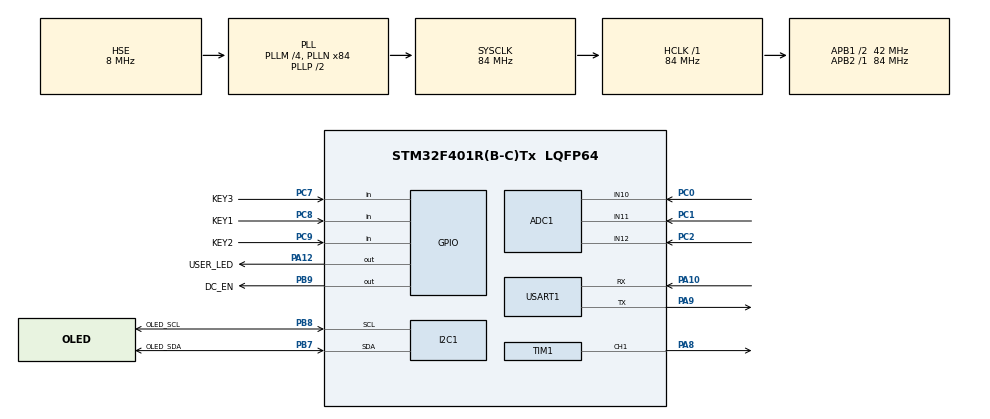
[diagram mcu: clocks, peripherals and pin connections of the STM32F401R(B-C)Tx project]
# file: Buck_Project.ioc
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ADC1.Channel-0\#ChannelRegularConversion=ADC_CHANNEL_10
ADC1.Channel-1\#ChannelRegularConversion=ADC_CHANNEL_11
ADC1.Channel-2\#ChannelRegularConversion=ADC_CHANNEL_12
ADC1.ContinuousConvMode=ENABLE
ADC1.DMAContinuousRequests=ENABLE
ADC1.NbrOfConversion=3
ADC1.NbrOfConversionFlag=1
ADC1.Rank-0\#ChannelRegularConversion=1
ADC1.Rank-1\#ChannelRegularConversion=2
ADC1.Rank-2\#ChannelRegularConversion=3
ADC1.SamplingTime-0\#ChannelRegularConversion=ADC_SAMPLETIME_15CYCLES
ADC1.SamplingTime-1\#ChannelRegularConversion=ADC_SAMPLETIME_15CYCLES
ADC1.SamplingTime-2\#ChannelRegularConversion=ADC_SAMPLETIME_15CYCLES
ADC1.master=1
Dma.ADC1.0.Direction=DMA_PERIPH_TO_MEMORY
Dma.ADC1.0.FIFOMode=DMA_FIFOMODE_DISABLE
Dma.ADC1.0.Instance=DMA2_Stream0
Dma.ADC1.0.MemDataAlignment=DMA_MDATAALIGN_HALFWORD
Dma.ADC1.0.MemInc=DMA_MINC_ENABLE
Dma.ADC1.0.Mode=DMA_CIRCULAR
Dma.ADC1.0.PeriphDataAlignment=DMA_PDATAALIGN_HALFWORD
Dma.ADC1.0.PeriphInc=DMA_PINC_DISABLE
Dma.ADC1.0.Priority=DMA_PRIORITY_LOW
Dma.I2C1_RX.3.Direction=DMA_PERIPH_TO_MEMORY
Dma.I2C1_RX.3.FIFOMode=DMA_FIFOMODE_DISABLE
Dma.I2C1_RX.3.Instance=DMA1_Stream5
Dma.I2C1_RX.3.MemDataAlignment=DMA_MDATAALIGN_BYTE
Dma.I2C1_RX.3.MemInc=DMA_MINC_ENABLE
Dma.I2C1_RX.3.Mode=DMA_NORMAL
Dma.I2C1_RX.3.PeriphDataAlignment=DMA_PDATAALIGN_BYTE
Dma.I2C1_RX.3.PeriphInc=DMA_PINC_DISABLE
Dma.I2C1_RX.3.Priority=DMA_PRIORITY_LOW
Dma.I2C1_TX.2.Direction=DMA_MEMORY_TO_PERIPH
Dma.I2C1_TX.2.FIFOMode=DMA_FIFOMODE_DISABLE
Dma.I2C1_TX.2.Instance=DMA1_Stream6
Dma.I2C1_TX.2.MemDataAlignment=DMA_MDATAALIGN_BYTE
Dma.I2C1_TX.2.MemInc=DMA_MINC_ENABLE
Dma.I2C1_TX.2.Mode=DMA_NORMAL
Dma.I2C1_TX.2.PeriphDataAlignment=DMA_PDATAALIGN_BYTE
Dma.I2C1_TX.2.PeriphInc=DMA_PINC_DISABLE
Dma.I2C1_TX.2.Priority=DMA_PRIORITY_LOW
Dma.Request0=ADC1
Dma.Request1=USART1_TX
Dma.Request2=I2C1_TX
Dma.Request3=I2C1_RX
Dma.USART1_TX.1.Direction=DMA_MEMORY_TO_PERIPH
Dma.USART1_TX.1.FIFOMode=DMA_FIFOMODE_DISABLE
Dma.USART1_TX.1.Instance=DMA2_Stream7
Dma.USART1_TX.1.MemDataAlignment=DMA_MDATAALIGN_BYTE
Dma.USART1_TX.1.MemInc=DMA_MINC_ENABLE
Dma.USART1_TX.1.Mode=DMA_NORMAL
Dma.USART1_TX.1.PeriphDataAlignment=DMA_PDATAALIGN_BYTE
Dma.USART1_TX.1.PeriphInc=DMA_PINC_DISABLE
Dma.USART1_TX.1.Priority=DMA_PRIORITY_LOW
I2C1.I2C_Mode=I2C_Fast
Mcu.Family=STM32F4
Mcu.Name=STM32F401R(B-C)Tx
Mcu.Package=LQFP64
NVIC.ADC_IRQn=true\:0\:0\:false\:false\:true\:true\:true\:true
NVIC.DMA1_Stream5_IRQn=true\:0\:0\:false\:false\:true\:false\:true\:true
NVIC.DMA1_Stream6_IRQn=true\:0\:0\:false\:false\:true\:false\:true\:true
NVIC.DMA2_Stream0_IRQn=true\:0\:0\:false\:false\:true\:false\:true\:true
NVIC.DMA2_Stream7_IRQn=true\:0\:0\:false\:false\:true\:false\:true\:true
NVIC.I2C1_ER_IRQn=true\:0\:0\:false\:false\:true\:true\:true\:true
NVIC.I2C1_EV_IRQn=true\:0\:0\:false\:false\:true\:true\:true\:true
NVIC.PriorityGroup=NVIC_PRIORITYGROUP_4
NVIC.TIM2_IRQn=true\:0\:0\:false\:false\:true\:true\:true\:true
NVIC.USART1_IRQn=true\:0\:0\:false\:false\:true\:true\:true\:true
PA10.Mode=Asynchronous
PA10.Signal=USART1_RX
PA12.GPIO_Label=USER_LED
PA12.Signal=GPIO_Output
PA13.Mode=Serial_Wire
PA13.Signal=SYS_JTMS-SWDIO
PA14.Mode=Serial_Wire
PA14.Signal=SYS_JTCK-SWCLK
PA8.Signal=S_TIM1_CH1
PA9.Mode=Asynchronous
PA9.Signal=USART1_TX
PB7.GPIO_Label=OLED_SDA
PB7.Mode=I2C
PB7.Signal=I2C1_SDA
PB8.GPIO_Label=OLED_SCL
PB8.Mode=I2C
PB8.Signal=I2C1_SCL
PB9.GPIO_Label=DC_EN
PB9.PinState=GPIO_PIN_RESET
PB9.Signal=GPIO_Output
PC0.Signal=ADCx_IN10
PC1.Signal=ADCx_IN11
PC2.Signal=ADCx_IN12
PC7.GPIO_Label=KEY3
PC7.GPIO_PuPd=GPIO_PULLUP
PC7.Signal=GPIO_Input
PC8.GPIO_Label=KEY1
PC8.GPIO_PuPd=GPIO_PULLUP
PC8.Signal=GPIO_Input
PC9.GPIO_Label=KEY2
PC9.GPIO_PuPd=GPIO_PULLUP
PC9.Signal=GPIO_Input
PH0\ -\ OSC_IN.Mode=HSE-External-Oscillator
PH0\ -\ OSC_IN.Signal=RCC_OSC_IN
PH1\ -\ OSC_OUT.Mode=HSE-External-Oscillator
PH1\ -\ OSC_OUT.Signal=RCC_OSC_OUT
ProjectManager.HeapSize=0x200
ProjectManager.StackSize=0x400
ProjectManager.TargetToolchain=MDK-ARM V5.32
RCC.48MHZClocksFreq_Value=42000000
RCC.AHBFreq_Value=84000000
RCC.APB1CLKDivider=RCC_HCLK_DIV2
RCC.APB1Freq_Value=42000000
RCC.APB1TimFreq_Value=84000000
RCC.APB2Freq_Value=84000000
RCC.APB2TimFreq_Value=84000000
RCC.CortexFreq_Value=84000000
RCC.HCLKFreq_Value=84000000
RCC.HSE_VALUE=8000000
RCC.HSI_VALUE=16000000
RCC.LSE_VALUE=32768
RCC.PLLM=4
RCC.PLLN=84
RCC.PLLSourceVirtual=RCC_PLLSOURCE_HSE
RCC.SYSCLKFreq_VALUE=84000000
RCC.SYSCLKSource=RCC_SYSCLKSOURCE_PLLCLK
RCC.VCOOutputFreq_Value=168000000
SH.ADCx_IN10.0=ADC1_IN10,IN10
SH.ADCx_IN11.0=ADC1_IN11,IN11
SH.ADCx_IN12.0=ADC1_IN12,IN12
SH.S_TIM1_CH1.0=TIM1_CH1,PWM Generation1 CH1
TIM1.AutoReloadPreload=TIM_AUTORELOAD_PRELOAD_ENABLE
TIM1.Channel-PWM\ Generation1\ CH1=TIM_CHANNEL_1
TIM1.Period=840-1
TIM2.Period=1000-1
TIM2.Prescaler=84-1
USART1.VirtualMode=VM_ASYNC
VP_TIM1_VS_ClockSourceINT.Mode=Internal
VP_TIM2_VS_ClockSourceINT.Mode=Internal
board=custom

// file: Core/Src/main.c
/* USER CODE BEGIN Header */
/**
  ******************************************************************************
  * @file           : main.c
  * @brief          : Main program body
  ******************************************************************************
  * @attention
  *
  * Copyright (c) 2026 STMicroelectronics.
  * All rights reserved.
  *
  * This software is licensed under terms that can be found in the LICENSE file
  * in the root directory of this software component.
  * If no LICENSE file comes with this software, it is provided AS-IS.
  *
  ******************************************************************************
  */
/* USER CODE END Header */
#include "main.h"
#include "adc.h"
#include "dma.h"
#include "i2c.h"
#include "tim.h"
#include "usart.h"
#include "gpio.h"

/* USER CODE BEGIN Includes */
#include <stdio.h>
#include <string.h>
#include "bsp_adc.h"
#include "bsp_pwm.h"
#include "pid.h"
#include "Vofa.h"
#include "key.h"
#include <math.h>   // 用于fabsf函数
#include "tjc_hmi.h"
#include "oled.h"
#include "config.h"

// PID 控制器结构体（全局变量，定时器中断和主循环都需要访问）
PID_T pid_voltage;   // 电压PID控制器（CV模式）
PID_T pid_current;   // 电流PID控制器（CC模式）

float target_voltage = 5.0f;	// 目标电压值（单位：V），范围：5.0V ~ 15.0V
float target_current = 0.5f;	// 目标电流值（单位：A），范围：0.1A ~ 1.0A
uint8_t output_enabled = 0;		// 输出使能状态标志（0=关闭，1=开启）
uint32_t pwm_out = 0;			// 当前PWM占空比值（用于HMI显示，0-839）

WorkMode_t work_mode = MODE_CV;// 工作模式（默认恒压模式)

/* USER CODE END Includes */

void SystemClock_Config(void);

int main(void)
{

  /* MCU Configuration--------------------------------------------------------*/

  /* Reset of all peripherals, Initializes the Flash interface and the Systick. */
  HAL_Init();

  /* Configure the system clock */
  SystemClock_Config();

  /* Initialize all configured peripherals */
  MX_GPIO_Init();
  MX_DMA_Init();
  MX_ADC1_Init();
  MX_I2C1_Init();
  MX_TIM1_Init();
  MX_TIM2_Init();
  MX_USART1_UART_Init();
  /* USER CODE BEGIN 2 */

  output_enabled = 0;
//  HAL_GPIO_WritePin(DC_EN_GPIO_Port, DC_EN_Pin, GPIO_PIN_SET);  // 高 = 使能
  HAL_GPIO_WritePin(DC_EN_GPIO_Port, DC_EN_Pin, GPIO_PIN_RESET);  // 低 = 关断（安全）

  oled_Init();
  BSP_ADC_Init();
  BSP_PWM_Init();
  TJC_HMI_Init();

  // 初始化电压PID（CV模式）
  pid_init(&pid_voltage, 18.0f, 2.0f, 4.5f, 5.0f, 740);//kp,ki,kd

  // 初始化电流PID（CC模式）- 参数需根据实际调试
  pid_init(&pid_current, 20.0f, 0.6f, 1.2f, 0.5f, 740);//kp,ki,kd

  HAL_TIM_Base_Start_IT(&htim2);   // 启动 1kHz 控制中断

  /* 等 1 秒让 ADC 采样稳定，再开输出 */
  HAL_Delay(1000);

  /* USER CODE END 2 */

  /* Infinite loop */
  /* USER CODE BEGIN WHILE */
  while (1)
  {
		float v_in   = BSP_ADC_Get_Vin();	  	//获取输入电压
		float v_out  = BSP_ADC_Get_Vout();		//获取输出电压
		float i_out  = BSP_ADC_Get_Iout();		//获取输出电流
		uint32_t d_raw = BSP_PWM_GetDuty();		//获取设置的PWM占空比

		// 定时发送数据到串口屏（每100ms发送一次）
		static uint32_t hmi_last_time = 0;
		uint32_t current_time = HAL_GetTick();
		if (current_time - hmi_last_time >= 100)
		{
			hmi_last_time = current_time; // 更新上次发送时间
			float power = v_out * i_out;  // 计算输出功率（输出电压 X 输出电流）
			uint8_t fault_code = 0;       // 初始化故障码为0（无故障）

		// 检测故障（优先级：输入过压 > 输出过压 > 输出过流 > 输入欠压，只报告最严重的一个）
		if (v_in > INPUT_OVER_VOLTAGE_THRESHOLD)
		{
			fault_code = 3;  // 输入过压
		}
		else if (v_out > OVER_VOLTAGE_THRESHOLD)
		{
			fault_code = 1;  // 输出过压
		}
		else if (i_out > OVER_CURRENT_THRESHOLD)
		{
			fault_code = 2;  // 输出过流
		}
		else if (v_in < UNDER_VOLTAGE_THRESHOLD)
		{
			fault_code = 4;  // 输入欠压
		}

			// 使用和OLED相同的PWM数据源（d_raw），确保显示一致
			TJC_HMI_SendData(v_in, v_out, i_out, power, d_raw, work_mode, output_enabled, fault_code);
			// 显示模式、输出状态、电压电流等信息
			oled_DisplayData_WithMode(v_in, v_out, i_out, power, d_raw, work_mode, output_enabled);
		}

		// 处理来自串口屏的命令
		TJC_HMI_Process();

		if(output_enabled){HAL_GPIO_TogglePin(USER_LED_GPIO_Port, USER_LED_Pin);}//代码运行指示灯

	  // HAL_Delay(50);

    /* USER CODE END WHILE */

  }
}

void SystemClock_Config(void)
{
  RCC_OscInitTypeDef RCC_OscInitStruct = {0};
  RCC_ClkInitTypeDef RCC_ClkInitStruct = {0};

  /** Configure the main internal regulator output voltage
  */
  __HAL_RCC_PWR_CLK_ENABLE();
  __HAL_PWR_VOLTAGESCALING_CONFIG(PWR_REGULATOR_VOLTAGE_SCALE2);

  /** Initializes the RCC Oscillators according to the specified parameters
  * in the RCC_OscInitTypeDef structure.
  */
  RCC_OscInitStruct.OscillatorType = RCC_OSCILLATORTYPE_HSE;
  RCC_OscInitStruct.HSEState = RCC_HSE_ON;
  RCC_OscInitStruct.PLL.PLLState = RCC_PLL_ON;
  RCC_OscInitStruct.PLL.PLLSource = RCC_PLLSOURCE_HSE;
  RCC_OscInitStruct.PLL.PLLM = 4;
  RCC_OscInitStruct.PLL.PLLN = 84;
  RCC_OscInitStruct.PLL.PLLP = RCC_PLLP_DIV2;
  RCC_OscInitStruct.PLL.PLLQ = 4;
  if (HAL_RCC_OscConfig(&RCC_OscInitStruct) != HAL_OK)
  {
    Error_Handler();
  }

  /** Initializes the CPU, AHB and APB buses clocks
  */
  RCC_ClkInitStruct.ClockType = RCC_CLOCKTYPE_HCLK|RCC_CLOCKTYPE_SYSCLK
                              |RCC_CLOCKTYPE_PCLK1|RCC_CLOCKTYPE_PCLK2;
  RCC_ClkInitStruct.SYSCLKSource = RCC_SYSCLKSOURCE_PLLCLK;
  RCC_ClkInitStruct.AHBCLKDivider = RCC_SYSCLK_DIV1;
  RCC_ClkInitStruct.APB1CLKDivider = RCC_HCLK_DIV2;
  RCC_ClkInitStruct.APB2CLKDivider = RCC_HCLK_DIV1;

  if (HAL_RCC_ClockConfig(&RCC_ClkInitStruct, FLASH_LATENCY_2) != HAL_OK)
  {
    Error_Handler();
  }
}

/* USER CODE BEGIN 4 */

void HAL_TIM_PeriodElapsedCallback(TIM_HandleTypeDef *htim)
{
    if (htim->Instance != TIM2) return;

		BSP_ADC_Process();  // 1kHz ADC采样处理（在定时器中断中调用，确保实时性）
		KEY_Scan(); 		//按键扫描
		// 1. 读取ADC数据（ADC_Process在main循环中调用，这里直接读取已处理的数据）
		float v_in   = BSP_ADC_Get_Vin();
		float v_out  = BSP_ADC_Get_Vout();
		float i_out  = BSP_ADC_Get_Iout();

		// 2. 安全检查（保护逻辑）
		if (v_in > INPUT_OVER_VOLTAGE_THRESHOLD || v_out > OVER_VOLTAGE_THRESHOLD || i_out > OVER_CURRENT_THRESHOLD || v_in < UNDER_VOLTAGE_THRESHOLD)
		{
			// 保护触发，关闭输出
			output_enabled = 0;	 // 关闭输出
			BSP_PWM_SetDuty(0);  // 使用统一接口停止PWM（0值表示完全关闭）
			HAL_GPIO_WritePin(DC_EN_GPIO_Port, DC_EN_Pin, GPIO_PIN_RESET);// 低 = 关断（安全）
			pwm_out = 0;         // 清零PWM显示值
			pid_reset(&pid_voltage);// 重置电压PID，清除历史误差
			pid_reset(&pid_current);// 重置电流PID，清除历史误差
		}

		// 3. PID控制逻辑（支持CV/CC模式切换）
		if (output_enabled)
		{
			float pwm_out_float = 0.0f;

			if (work_mode == MODE_CV)
			{
				// CV模式：恒压控制
				pid_set_target(&pid_voltage, target_voltage);
				pwm_out_float = pid_calc_incremental(&pid_voltage, v_out);
				pwm_out = target_voltage + (uint32_t)pwm_out_float;

				// 限制PWM输出在安全范围内
				if(pwm_out >= MAX_DUTY_RAW)
					pwm_out = MAX_DUTY_RAW;
				else if(pwm_out <= MIN_DUTY_RAW)
					pwm_out = MIN_DUTY_RAW;

				BSP_PWM_SetDuty(pwm_out);
			}
			else  // MODE_CC
			{
				// CC模式：恒流控制
				pid_set_target(&pid_current, target_current);
				pwm_out_float = pid_calc_incremental(&pid_current, i_out);
				pwm_out = target_current + (uint32_t)pwm_out_float;  // 电流单位转换

				// 限制PWM输出在安全范围内
				if(pwm_out >= MAX_DUTY_RAW)
					pwm_out = MAX_DUTY_RAW;
				else if(pwm_out <= MIN_DUTY_RAW)
					pwm_out = MIN_DUTY_RAW;

				BSP_PWM_SetDuty(pwm_out);
			}
		}
		else if(output_enabled == 0)
		{
			// 输出关闭时，停止PWM，并重置PID状态
			BSP_PWM_SetDuty(0);       // 使用统一接口停止PWM（0值表示完全关闭）
			pwm_out = 0;              // 清零PWM显示值
			pid_reset(&pid_voltage);  // 重置PID，清除历史误差
			pid_reset(&pid_current);  // 重置电流PID
		}

}

/* USER CODE END 4 */

void Error_Handler(void)
{
  __disable_irq();
  while (1)
  {
  }
}
